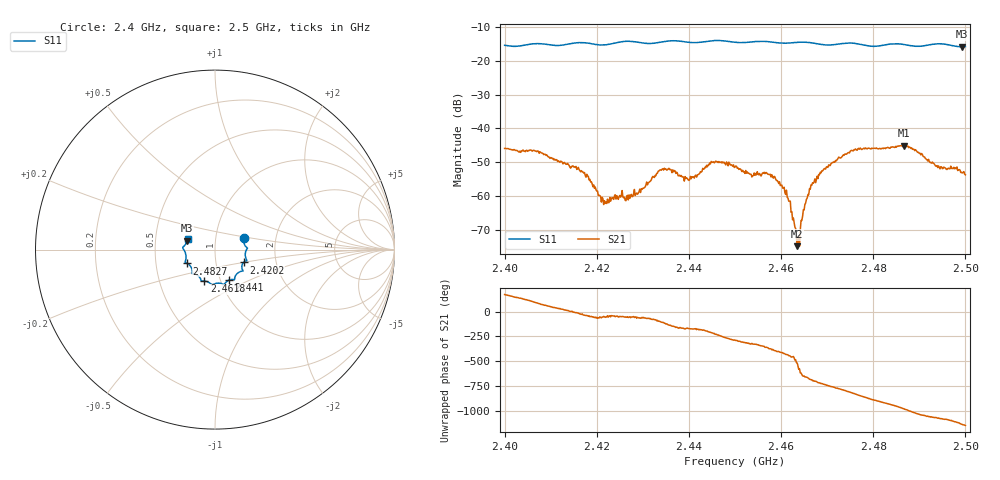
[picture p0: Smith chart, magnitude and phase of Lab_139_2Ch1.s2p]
# Hz S RI R 50
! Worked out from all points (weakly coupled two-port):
!   601 points, 2.4 GHz to 2.5 GHz, reference 50 ohm
!   highest |S21| = -45.08 dB at 2.4867 GHz (marker M1); lowest = -74.9 dB at 2.4635 GHz (marker M2)
!   lowest |S11| = -15.8 dB at 2.4993 GHz (marker M3), VSWR 1.39, Z = 36.5 + j3.8 ohm
!   |S11| at or under -10 dB: start of sweep to end of sweep
!   S12 and S22 are empty: the file has one direction only
!   S11 on the Smith chart (normalised r, x): 2.4 GHz: 1.36, +0.18; 2.4202 GHz: 1.36, -0.20; 2.441 GHz: 1.10, -0.39; 2.4618 GHz: 0.84, -0.30; 2.4827 GHz: 0.72, -0.12; 2.5 GHz: 0.73, +0.09
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2.4e9  0.1589 0.0632  -0.00499 0.000807  0 0  0 0
2.406833e9  0.1809 0.00873  9.43e-05 0.0046  0 0  0 0
2.416667e9  0.1774 -0.0607  0.00207 -0.00116  0 0  0 0
2.420167e9  0.1589 -0.0717  0.00042 -0.0011  0 0  0 0
2.422e9  0.1502 -0.0875  0.000471 -0.000657  0 0  0 0
2.426667e9  0.1563 -0.1187  0.000622 -0.000805  0 0  0 0
2.433333e9  0.1117 -0.1508  -0.000312 -0.0023  0 0  0 0
2.441e9  0.0789 -0.1699  -0.00191 -0.000136  0 0  0 0
2.445333e9  0.0513 -0.1941  -0.00241 0.00211  0 0  0 0
2.45e9  0.0287 -0.1874  0.00085 0.00253  0 0  0 0
2.458167e9  -0.0263 -0.1883  0.00178 -0.000707  0 0  0 0
2.460667e9  -0.0475 -0.1776  0.00061 -0.0012  0 0  0 0
2.461833e9  -0.0591 -0.1755  7.43e-05 -0.00083  0 0  0 0
2.4635e9  -0.0713 -0.1751  -0.000167 -6.6e-05  0 0  0 0
2.466667e9  -0.0787 -0.1684  0.00121 0.000784  0 0  0 0
2.475e9  -0.1275 -0.1336  -0.000183 -0.00458  0 0  0 0
2.482667e9  -0.1558 -0.0773  -0.00466 0.00188  0 0  0 0
2.483333e9  -0.1602 -0.0751  -0.00444 0.00264  0 0  0 0
2.486667e9  -0.1643 -0.0627  -0.00106 0.00547  0 0  0 0
2.494e9  -0.1799 0.00932  0.00262 0.00025  0 0  0 0
2.499333e9  -0.1542 0.0507  0.00117 -0.00185  0 0  0 0
2.5e9  -0.1524 0.0604  0.000792 -0.00189  0 0  0 0
